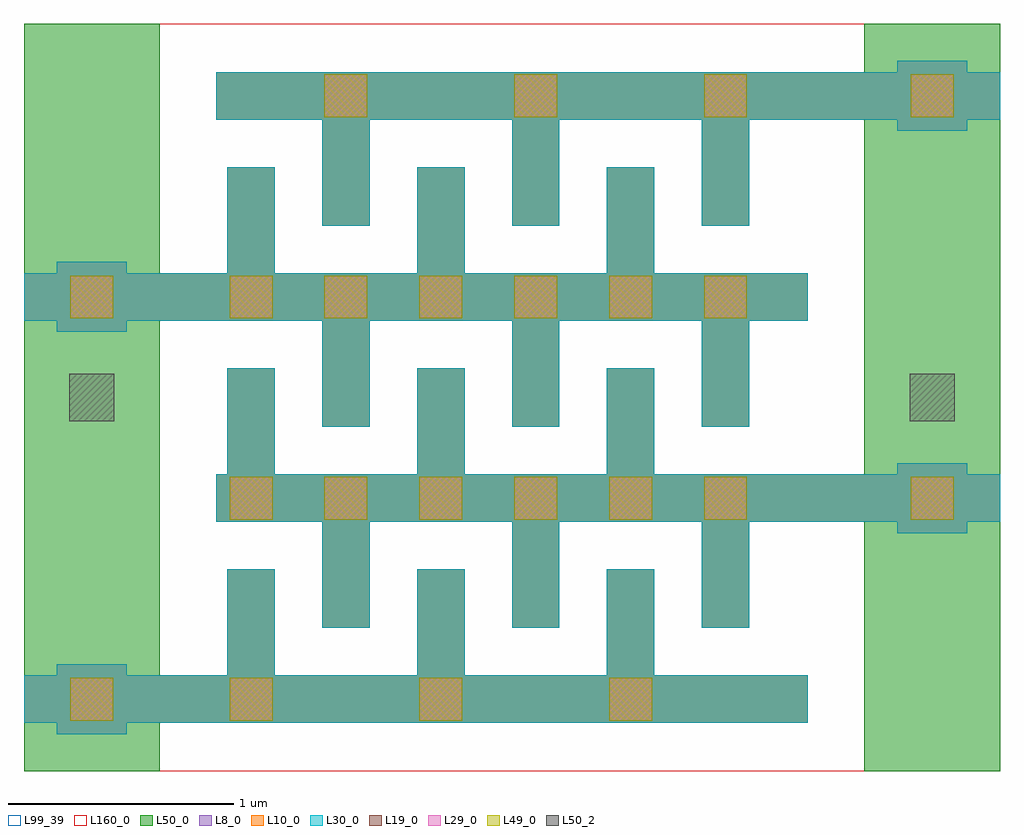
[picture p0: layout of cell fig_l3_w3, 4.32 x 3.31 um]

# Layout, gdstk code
import gdstk
lib = gdstk.Library(unit=1e-6, precision=1e-09)
def R(c, l, rs):  # rectangles x0, y0, x1, y1
    for r in rs: c.add(gdstk.rectangle(r[:2], r[2:], *l))
def A(c, l, x, y, w, h, nx, ny, dx, dy):  # array of equal rectangles
    R(c, l, [(x+i*dx, y+j*dy, x+i*dx+w, y+j*dy+h) for i in range(nx) for j in range(ny)])
L8_0 = (8, 0)
L10_0 = (10, 0)
L19_0 = (19, 0)
L29_0 = (29, 0)
L30_0 = (30, 0)
L49_0 = (49, 0)
L50_0 = (50, 0)
L50_2 = (50, 2)
L99_39 = (99, 39)
L160_0 = (160, 0)

fig_l3_w3 = lib.new_cell('fig_l3_w3')
A(fig_l3_w3, L8_0, 0, 0, 0.21, 0.575, 3, 3, 0.84, 0.89)
A(fig_l3_w3, L8_0, 0.42, 0.315, 0.21, 0.575, 3, 3, 0.84, 0.89)
R(fig_l3_w3, L8_0, [(-0.755,-0.155,-0.445,0.155), (-0.9,-0.105,2.57,0.105), (2.965,0.735,3.275,1.045), (-0.05,0.785,3.42,0.995), (-0.755,1.625,-0.445,1.935), (-0.9,1.675,2.57,1.885), (2.965,2.515,3.275,2.825), (-0.05,2.565,3.42,2.775)])
A(fig_l3_w3, L10_0, 0, 0, 0.21, 0.575, 3, 3, 0.84, 0.89)
A(fig_l3_w3, L10_0, 0.42, 0.315, 0.21, 0.575, 3, 3, 0.84, 0.89)
R(fig_l3_w3, L10_0, [(-0.755,-0.155,-0.445,0.155), (-0.9,-0.105,2.57,0.105), (2.965,0.735,3.275,1.045), (-0.05,0.785,3.42,0.995), (-0.755,1.625,-0.445,1.935), (-0.9,1.675,2.57,1.885), (2.965,2.515,3.275,2.825), (-0.05,2.565,3.42,2.775)])
A(fig_l3_w3, L19_0, 0.01, -0.095, 0.19, 0.19, 3, 1, 0.84, 0)
A(fig_l3_w3, L19_0, 0.01, 0.795, 0.19, 0.19, 6, 2, 0.42, 0.89)
A(fig_l3_w3, L19_0, 0.43, 2.575, 0.19, 0.19, 3, 1, 0.84, 0)
R(fig_l3_w3, L19_0, [(-0.695,-0.095,-0.505,0.095), (3.025,0.795,3.215,0.985), (-0.695,1.685,-0.505,1.875), (3.025,2.575,3.215,2.765)])
A(fig_l3_w3, L29_0, 0.01, -0.095, 0.19, 0.19, 3, 1, 0.84, 0)
A(fig_l3_w3, L29_0, 0.01, 0.795, 0.19, 0.19, 6, 2, 0.42, 0.89)
A(fig_l3_w3, L29_0, 0.43, 2.575, 0.19, 0.19, 3, 1, 0.84, 0)
R(fig_l3_w3, L29_0, [(-0.695,-0.095,-0.505,0.095), (3.025,0.795,3.215,0.985), (-0.695,1.685,-0.505,1.875), (3.025,2.575,3.215,2.765)])
A(fig_l3_w3, L30_0, 0, 0, 0.21, 0.575, 3, 3, 0.84, 0.89)
A(fig_l3_w3, L30_0, 0.42, 0.315, 0.21, 0.575, 3, 3, 0.84, 0.89)
R(fig_l3_w3, L30_0, [(-0.755,-0.155,-0.445,0.155), (-0.9,-0.105,2.57,0.105), (2.965,0.735,3.275,1.045), (-0.05,0.785,3.42,0.995), (-0.755,1.625,-0.445,1.935), (-0.9,1.675,2.57,1.885), (2.965,2.515,3.275,2.825), (-0.05,2.565,3.42,2.775)])
A(fig_l3_w3, L49_0, 0.01, -0.095, 0.19, 0.19, 3, 1, 0.84, 0)
A(fig_l3_w3, L49_0, 0.01, 0.795, 0.19, 0.19, 6, 2, 0.42, 0.89)
A(fig_l3_w3, L49_0, 0.43, 2.575, 0.19, 0.19, 3, 1, 0.84, 0)
R(fig_l3_w3, L49_0, [(-0.695,-0.095,-0.505,0.095), (3.025,0.795,3.215,0.985), (-0.695,1.685,-0.505,1.875), (3.025,2.575,3.215,2.765)])
A(fig_l3_w3, L50_0, 0, 0, 0.21, 0.575, 3, 3, 0.84, 0.89)
A(fig_l3_w3, L50_0, 0.42, 0.315, 0.21, 0.575, 3, 3, 0.84, 0.89)
R(fig_l3_w3, L50_0, [(-0.9,-0.32,-0.3,2.99), (2.82,-0.32,3.42,2.99), (-0.9,-0.105,2.57,0.105), (-0.05,0.785,3.42,0.995), (-0.9,1.675,2.57,1.885), (-0.05,2.565,3.42,2.775)])
R(fig_l3_w3, L50_2, [(-0.7,1.23,-0.5,1.44), (3.02,1.23,3.22,1.44)])
R(fig_l3_w3, L99_39, [(-0.9,-0.32,3.42,2.99)])
R(fig_l3_w3, L160_0, [(-0.9,-0.32,3.42,2.99)])
fig_l3_w3.add(gdstk.Label('cap_cmomi C=4.889fF', (-0.9,-0.82), layer=63, texttype=0))

lib.write_gds('fig_l3_w3.gds')
